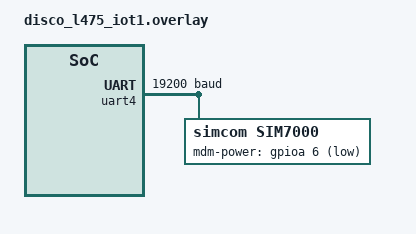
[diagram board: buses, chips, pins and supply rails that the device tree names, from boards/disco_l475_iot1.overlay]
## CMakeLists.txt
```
# SPDX-License-Identifier: Apache-2.0

cmake_minimum_required(VERSION 3.20.0)

find_package(Zephyr REQUIRED HINTS $ENV{ZEPHYR_BASE})
project(sim7000_test)

FILE(GLOB sources src/*.c)

target_sources(app PRIVATE ${sources})
```

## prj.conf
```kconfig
# networking
CONFIG_NETWORKING=y
CONFIG_NET_NATIVE=n
CONFIG_NET_SOCKETS=y
CONFIG_NET_SOCKETS_OFFLOAD=y
CONFIG_NET_LOG=y


# sim7000 support
CONFIG_SERIAL=y
CONFIG_MODEM=y
CONFIG_MODEM_SIM7000=y
CONFIG_MODEM_SIMCOM_SIM7000_RAT_M1=y


# GSM modem support
# CONFIG_MODEM=y
# CONFIG_MODEM_GSM_PPP=y

# PPP networking support
#CONFIG_NET_DRIVERS=y
#CONFIG_NET_PPP=y
#CONFIG_NET_L2_PPP=y
#CONFIG_NET_NATIVE=y
#CONFIG_NETWORKING=y

# CONFIG_NET_L2_PPP_TIMEOUT=10000

# IPv4 enables PPP IPCP support
CONFIG_NET_IPV4=y
CONFIG_NET_IPV6=n

# Network management events
# CONFIG_NET_CONNECTION_MANAGER=y

# APN configuration
# CONFIG_MODEM_GSM_APN="hologram"


# Log buffers, modem and PPP
# CONFIG_LOG=y
# CONFIG_NET_LOG=y
#CONFIG_LOG_BUFFER_SIZE=16384
#CONFIG_MODEM_LOG_LEVEL_DBG=y
#CONFIG_NET_PPP_LOG_LEVEL_DBG=y	
#CONFIG_NET_L2_PPP_LOG_LEVEL_DBG=y
#CONFIG_NET_MGMT_EVENT_LOG_LEVEL_DBG=y
#CONFIG_NET_CONNECTION_MANAGER_LOG_LEVEL_DBG=y

# CONFIG_NET_SHELL=y
CONFIG_MODEM_SHELL=y

# disable optimizations
CONFIG_NO_OPTIMIZATIONS=y

# stack size
CONFIG_MAIN_STACK_SIZE=8192
```

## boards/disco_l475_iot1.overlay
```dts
&uart4 {
	status = "okay";
    current-speed = <19200>;
    sim7000 {
        compatible = "simcom,sim7000";
        label = "sim7000";
        mdm-power-gpios = <&gpioa 6 GPIO_ACTIVE_LOW>;
    };
    
    /*
    status = "okay";
	current-speed = <115200>;
	gsm: gsm-modem {
		compatible = "zephyr,gsm-ppp";
	};
    */
};
```

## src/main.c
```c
/*
 * Copyright (c) 2020, Intel Corporation
 *
 * SPDX-License-Identifier: Apache-2.0
 */
/*
#include <zephyr/kernel.h>
#include <zephyr/sys/printk.h>
#include <zephyr/shell/shell.h>
#include <zephyr/drivers/uart.h>
#include <zephyr/net/net_mgmt.h>
#include <zephyr/net/net_event.h>
#include <zephyr/net/net_conn_mgr.h>
#include <zephyr/drivers/modem/gsm_ppp.h>
#include <zephyr/devicetree.h>
#include <zephyr/drivers/modem/simcom-sim7000.h>
#include <zephyr/drivers/gpio.h>

#include <zephyr/logging/log.h>
LOG_MODULE_REGISTER(sample_gsm_ppp, LOG_LEVEL_DBG);

#define GSM_MODEM_NODE DT_COMPAT_GET_ANY_STATUS_OKAY(zephyr_gsm_ppp)
#define UART_NODE DT_BUS(GSM_MODEM_NODE)

static const struct device *const gsm_dev = DEVICE_DT_GET(GSM_MODEM_NODE);
static struct net_mgmt_event_callback mgmt_cb;
static bool starting = IS_ENABLED(CONFIG_GSM_PPP_AUTOSTART);

static int cmd_sample_modem_suspend(const struct shell *shell,
				    size_t argc, char *argv[])
{
	ARG_UNUSED(argc);
	ARG_UNUSED(argv);

	if (!starting) {
		shell_fprintf(shell, SHELL_NORMAL, "Modem is already stopped.\n");
		return -ENOEXEC;
	}

	gsm_ppp_stop(gsm_dev);
	starting = false;

	return 0;
}

static int cmd_sample_modem_resume(const struct shell *shell,
				   size_t argc, char *argv[])
{
	ARG_UNUSED(argc);
	ARG_UNUSED(argv);

	if (starting) {
		shell_fprintf(shell, SHELL_NORMAL, "Modem is already started.\n");
		return -ENOEXEC;
	}

	gsm_ppp_start(gsm_dev);
	starting = true;

	return 0;
}

SHELL_STATIC_SUBCMD_SET_CREATE(sample_commands,
	SHELL_CMD(resume, NULL,
		  "Resume the modem\n",
		  cmd_sample_modem_resume),
	SHELL_CMD(suspend, NULL,
		  "Suspend the modem\n",
		  cmd_sample_modem_suspend),
	SHELL_SUBCMD_SET_END
);

SHELL_CMD_REGISTER(sample, &sample_commands,
		   "Sample application commands", NULL);


static void event_handler(struct net_mgmt_event_callback *cb,
			  uint32_t mgmt_event, struct net_if *iface)
{
	ARG_UNUSED(cb);
	ARG_UNUSED(iface);

	if ((mgmt_event & (NET_EVENT_L4_CONNECTED
			   | NET_EVENT_L4_DISCONNECTED)) != mgmt_event) {
		return;
	}

	if (mgmt_event == NET_EVENT_L4_CONNECTED) {
		LOG_INF("Network connected");
		return;
	}

	if (mgmt_event == NET_EVENT_L4_DISCONNECTED) {
		LOG_INF("Network disconnected");
		return;
	}
}

static void modem_on_cb(const struct device *dev, void *user_data)
{
	ARG_UNUSED(dev);
	ARG_UNUSED(user_data);

	LOG_INF("GSM modem on callback fired");
}

static void modem_off_cb(const struct device *dev, void *user_data)
{
	ARG_UNUSED(dev);
	ARG_UNUSED(user_data);

	LOG_INF("GSM modem off callback fired");
}

int main(void)
{
	const struct device *const uart_dev = DEVICE_DT_GET(UART_NODE);

    const struct gpio_dt_spec pwrkey_gpios = GPIO_DT_SPEC_GET(DT_NODELABEL(test), modem_pwrkey_gpios) ;
    //gpio_dt_configure(&pwrkey_gpios, GPIO_OUTPUT_ACTIVE);


	// Optional register modem power callbacks 
	gsm_ppp_register_modem_power_callback(gsm_dev, modem_on_cb, modem_off_cb, NULL);

	LOG_INF("Board '%s' APN '%s' UART '%s' device %p (%s)",
		CONFIG_BOARD, CONFIG_MODEM_GSM_APN,
		uart_dev->name, uart_dev, gsm_dev->name);

	net_mgmt_init_event_callback(&mgmt_cb, event_handler,
				     NET_EVENT_L4_CONNECTED |
				     NET_EVENT_L4_DISCONNECTED);
	net_mgmt_add_event_callback(&mgmt_cb);

	return 0;
}
*/

#include <zephyr/kernel.h>
#include <zephyr/sys/printk.h>
#include <zephyr/drivers/modem/simcom-sim7000.h>

int main(void){

	mdm_sim7000_power_on();
	
	return 0;
}
```
